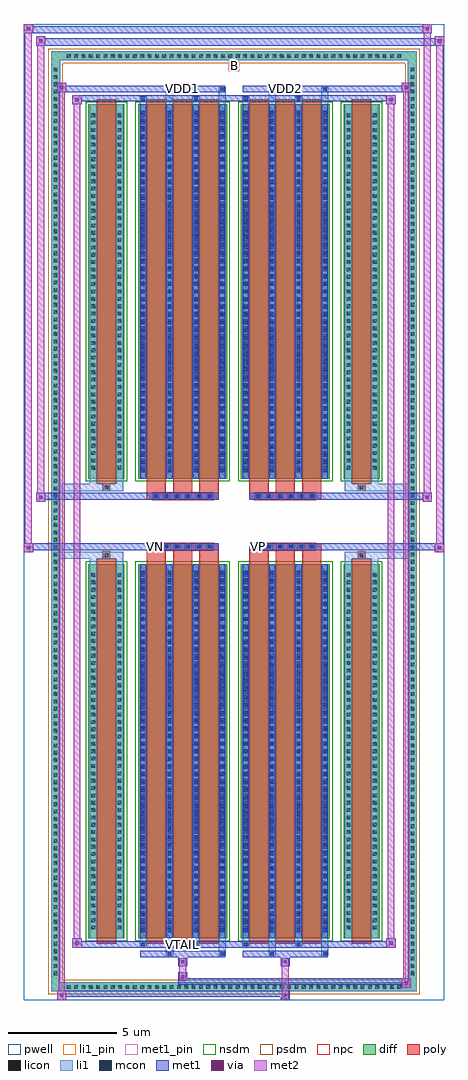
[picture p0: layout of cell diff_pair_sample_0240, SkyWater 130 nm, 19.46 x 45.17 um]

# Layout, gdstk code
import gdstk
lib = gdstk.Library(unit=1e-6, precision=5e-09)
def R(c, l, rs):  # rectangles x0, y0, x1, y1
    for r in rs: c.add(gdstk.rectangle(r[:2], r[2:], *l))
def A(c, l, x, y, w, h, nx, ny, dx, dy):  # array of equal rectangles
    R(c, l, [(x+i*dx, y+j*dy, x+i*dx+w, y+j*dy+h) for i in range(nx) for j in range(ny)])
def P(c, l, *ps):  # polygons
    for p in ps: c.add(gdstk.Polygon(p, *l))
pwell = (64, 44)
diff = (65, 20)
poly = (66, 20)
licon = (66, 44)
li1_pin = (67, 16)
li1 = (67, 20)
mcon = (67, 44)
met1_pin = (68, 16)
met1 = (68, 20)
via = (68, 44)
met2 = (69, 20)
nsdm = (93, 44)
psdm = (94, 20)
npc = (95, 20)

diff_pair_sample_0240 = lib.new_cell('diff_pair_sample_0240')
R(diff_pair_sample_0240, pwell, [(-9.73,-22.15,9.73,23.02), (-7.05,-20.34,-0.01,-0.8), (0.01,-20.34,7.05,-0.8), (-7.05,0.8,-0.01,20.34), (0.01,0.8,7.05,20.34)])
A(diff_pair_sample_0240, diff, -7.855, -21.75, 0.41, 0.41, 46, 2, 0.34, 43.09)
A(diff_pair_sample_0240, diff, -8.46, -21.115, 0.41, 0.41, 1, 124, 0, 0.34)
A(diff_pair_sample_0240, diff, 8.05, -21.115, 0.41, 0.41, 1, 124, 0, 0.34)
R(diff_pair_sample_0240, diff, [(-7.855,-21.75,7.855,-21.34), (-8.46,-21.115,-8.05,21.115), (8.05,-21.115,8.46,21.115), (-6.74,-19.295,-5.07,-1.985), (-4.43,-19.295,-0.32,-1.985), (0.32,-19.295,4.43,-1.985), (5.07,-19.295,6.74,-1.985), (-6.74,1.985,-5.07,19.295), (-4.43,1.985,-0.32,19.295), (0.32,1.985,4.43,19.295), (5.07,1.985,6.74,19.295), (-7.855,21.34,7.855,21.75)])
P(diff_pair_sample_0240, diff, [(8.46,21.75),(-8.46,21.75),(-8.46,-21.34),(-8.05,-21.34),(-8.05,21.34),(8.05,21.34),(8.05,-21.34),(-8.05,-21.34),(-8.46,-21.34),(-8.46,-21.75),(8.46,-21.75)])
A(diff_pair_sample_0240, poly, -4.04, -19.545, 0.89, 17.81, 3, 2, 1.22, 21.28)
A(diff_pair_sample_0240, poly, 0.71, -19.545, 0.89, 17.81, 3, 2, 1.22, 21.28)
A(diff_pair_sample_0240, poly, -4.04, -1.735, 0.89, 0.405, 3, 2, 1.22, 3.065)
A(diff_pair_sample_0240, poly, 0.71, -1.735, 0.89, 0.405, 3, 2, 1.22, 3.065)
A(diff_pair_sample_0240, poly, -3.79, -1.33, 0.33, 0.33, 6, 2, 0.5, 2.33)
A(diff_pair_sample_0240, poly, 0.96, -1.33, 0.33, 0.33, 6, 2, 0.5, 2.33)
R(diff_pair_sample_0240, poly, [(-6.35,-19.545,-5.46,-1.735), (5.46,-19.545,6.35,-1.735), (-6.07,-1.735,-5.74,-1.405), (-6.07,-1.735,-5.74,-1.405), (5.74,-1.735,6.07,-1.405), (5.74,-1.735,6.07,-1.405), (-4.04,-1.33,-0.71,-1), (0.71,-1.33,4.04,-1), (-4.04,1,-0.71,1.33), (0.71,1,4.04,1.33), (-6.07,1.405,-5.74,1.735), (-6.07,1.405,-5.74,1.735), (5.74,1.405,6.07,1.735), (5.74,1.405,6.07,1.735), (-6.35,1.735,-5.46,19.545), (5.46,1.735,6.35,19.545)])
A(diff_pair_sample_0240, licon, -7.735, -21.63, 0.17, 0.17, 46, 2, 0.34, 43.09)
A(diff_pair_sample_0240, licon, -8.34, -20.995, 0.17, 0.17, 1, 124, 0, 0.34)
A(diff_pair_sample_0240, licon, 8.17, -20.995, 0.17, 0.17, 1, 124, 0, 0.34)
A(diff_pair_sample_0240, licon, -6.6, -18.885, 0.17, 0.17, 1, 49, 0, 0.34)
A(diff_pair_sample_0240, licon, -5.38, -18.885, 0.17, 0.17, 1, 49, 0, 0.34)
A(diff_pair_sample_0240, licon, -4.29, -18.885, 0.17, 0.17, 4, 49, 1.22, 0.34)
A(diff_pair_sample_0240, licon, 0.46, -18.885, 0.17, 0.17, 4, 49, 1.22, 0.34)
A(diff_pair_sample_0240, licon, 5.21, -18.885, 0.17, 0.17, 1, 49, 0, 0.34)
A(diff_pair_sample_0240, licon, 6.43, -18.885, 0.17, 0.17, 1, 49, 0, 0.34)
A(diff_pair_sample_0240, licon, -3.71, -1.25, 0.17, 0.17, 6, 2, 0.5, 2.33)
A(diff_pair_sample_0240, licon, 1.04, -1.25, 0.17, 0.17, 6, 2, 0.5, 2.33)
A(diff_pair_sample_0240, licon, -6.6, 2.395, 0.17, 0.17, 1, 49, 0, 0.34)
A(diff_pair_sample_0240, licon, -5.38, 2.395, 0.17, 0.17, 1, 49, 0, 0.34)
A(diff_pair_sample_0240, licon, -4.29, 2.395, 0.17, 0.17, 4, 49, 1.22, 0.34)
A(diff_pair_sample_0240, licon, 0.46, 2.395, 0.17, 0.17, 4, 49, 1.22, 0.34)
A(diff_pair_sample_0240, licon, 5.21, 2.395, 0.17, 0.17, 1, 49, 0, 0.34)
A(diff_pair_sample_0240, licon, 6.43, 2.395, 0.17, 0.17, 1, 49, 0, 0.34)
R(diff_pair_sample_0240, licon, [(-5.99,-1.655,-5.82,-1.485), (5.82,-1.655,5.99,-1.485), (-5.99,1.485,-5.82,1.655), (5.82,1.485,5.99,1.655)])
R(diff_pair_sample_0240, li1_pin, [(-0.25,20.84,0.25,21.34)])
A(diff_pair_sample_0240, li1, -7.815, -21.71, 0.33, 0.33, 46, 2, 0.34, 43.09)
A(diff_pair_sample_0240, li1, -8.42, -21.075, 0.33, 0.33, 1, 124, 0, 0.34)
A(diff_pair_sample_0240, li1, 8.09, -21.075, 0.33, 0.33, 1, 124, 0, 0.34)
A(diff_pair_sample_0240, li1, -4.37, -19.295, 0.33, 17.31, 4, 2, 1.22, 21.28)
A(diff_pair_sample_0240, li1, 0.38, -19.295, 0.33, 17.31, 4, 2, 1.22, 21.28)
A(diff_pair_sample_0240, li1, -4.29, -19.005, 0.17, 0.17, 4, 47, 1.22, 0.36)
A(diff_pair_sample_0240, li1, -4.29, -19.005, 0.17, 16.73, 4, 2, 1.22, 21.28)
A(diff_pair_sample_0240, li1, 0.46, -19.005, 0.17, 0.17, 4, 47, 1.22, 0.36)
A(diff_pair_sample_0240, li1, 0.46, -19.005, 0.17, 16.73, 4, 2, 1.22, 21.28)
A(diff_pair_sample_0240, li1, -6.68, -18.965, 0.33, 0.33, 1, 49, 0, 0.34)
A(diff_pair_sample_0240, li1, -5.46, -18.965, 0.33, 0.33, 1, 49, 0, 0.34)
A(diff_pair_sample_0240, li1, -4.37, -18.965, 0.33, 0.33, 4, 49, 1.22, 0.34)
A(diff_pair_sample_0240, li1, 0.38, -18.965, 0.33, 0.33, 4, 49, 1.22, 0.34)
A(diff_pair_sample_0240, li1, 5.13, -18.965, 0.33, 0.33, 1, 49, 0, 0.34)
A(diff_pair_sample_0240, li1, 6.35, -18.965, 0.33, 0.33, 1, 49, 0, 0.34)
A(diff_pair_sample_0240, li1, -3.79, -1.33, 0.33, 0.33, 6, 2, 0.5, 2.33)
A(diff_pair_sample_0240, li1, 0.96, -1.33, 0.33, 0.33, 6, 2, 0.5, 2.33)
A(diff_pair_sample_0240, li1, -4.29, 2.275, 0.17, 0.17, 4, 47, 1.22, 0.36)
A(diff_pair_sample_0240, li1, 0.46, 2.275, 0.17, 0.17, 4, 47, 1.22, 0.36)
A(diff_pair_sample_0240, li1, -6.68, 2.315, 0.33, 0.33, 1, 49, 0, 0.34)
A(diff_pair_sample_0240, li1, -5.46, 2.315, 0.33, 0.33, 1, 49, 0, 0.34)
A(diff_pair_sample_0240, li1, -4.37, 2.315, 0.33, 0.33, 4, 49, 1.22, 0.34)
A(diff_pair_sample_0240, li1, 0.38, 2.315, 0.33, 0.33, 4, 49, 1.22, 0.34)
A(diff_pair_sample_0240, li1, 5.13, 2.315, 0.33, 0.33, 1, 49, 0, 0.34)
A(diff_pair_sample_0240, li1, 6.35, 2.315, 0.33, 0.33, 1, 49, 0, 0.34)
R(diff_pair_sample_0240, li1, [(-8.46,-21.75,-8.05,-21.34), (-8.46,-21.75,-8.05,-21.34), (-8.05,-21.75,8.05,-21.34), (8.05,-21.75,8.46,-21.34), (8.05,-21.75,8.46,-21.34), (-8.46,-21.34,-8.05,21.34), (8.05,-21.34,8.46,21.34), (-3.15,-20.1,-2.82,-19.295), (-3.07,-20.1,-2.9,-19.93), (-0.71,-20.1,-0.38,-19.295), (-0.63,-20.1,-0.46,-19.93), (1.6,-20.1,1.93,-19.295), (1.68,-20.1,1.85,-19.93), (4.04,-20.1,4.37,-19.295), (4.12,-20.1,4.29,-19.93), (-4.37,-19.67,-4.04,-19.295), (-4.29,-19.67,-4.12,-19.5), (-1.93,-19.67,-1.6,-19.295), (-1.85,-19.67,-1.68,-19.5), (0.38,-19.67,0.71,-19.295), (0.46,-19.67,0.63,-19.5), (2.82,-19.67,3.15,-19.295), (2.9,-19.67,3.07,-19.5), (-6.68,-19.295,-6.35,-1.985), (-5.46,-19.295,-5.13,-1.985), (5.13,-19.295,5.46,-1.985), (6.35,-19.295,6.68,-1.985), (-6.68,-1.985,-6.35,-1.405), (-5.46,-1.985,-5.13,-1.405), (5.13,-1.985,5.46,-1.405), (6.35,-1.985,6.68,-1.405), (-8.46,-1.735,-6.07,-1.405), (-6.68,-1.735,-6.07,-1.405), (-6.07,-1.735,-5.74,-1.405), (-5.74,-1.735,-5.13,-1.405), (5.13,-1.735,5.74,-1.405), (5.74,-1.735,6.07,-1.405), (5.74,-1.735,8.46,-1.405), (6.07,-1.735,6.68,-1.405), (-8.46,1.405,-6.07,1.735), (-6.68,1.405,-6.07,1.735), (-6.68,1.405,-6.35,1.985), (-6.07,1.405,-5.74,1.735), (-5.74,1.405,-5.13,1.735), (-5.46,1.405,-5.13,1.985), (5.13,1.405,5.74,1.735), (5.13,1.405,5.46,1.985), (5.74,1.405,6.07,1.735), (5.74,1.405,8.46,1.735), (6.07,1.405,6.68,1.735), (6.35,1.405,6.68,1.985), (-6.68,1.985,-6.35,19.295), (-5.46,1.985,-5.13,19.295), (5.13,1.985,5.46,19.295), (6.35,1.985,6.68,19.295), (-4.37,19.295,-4.04,19.67), (-3.15,19.295,-2.82,20.1), (-1.93,19.295,-1.6,19.67), (-0.71,19.295,-0.38,20.1), (0.38,19.295,0.71,19.67), (1.6,19.295,1.93,20.1), (2.82,19.295,3.15,19.67), (4.04,19.295,4.37,20.1), (-4.29,19.5,-4.12,19.67), (-1.85,19.5,-1.68,19.67), (0.46,19.5,0.63,19.67), (2.9,19.5,3.07,19.67), (-3.07,19.93,-2.9,20.1), (-0.63,19.93,-0.46,20.1), (1.68,19.93,1.85,20.1), (4.12,19.93,4.29,20.1), (-8.46,21.34,-8.05,21.75), (-8.46,21.34,-8.05,21.75), (-8.05,21.34,8.05,21.75), (8.05,21.34,8.46,21.75), (8.05,21.34,8.46,21.75)])
A(diff_pair_sample_0240, mcon, -4.29, -19.005, 0.17, 0.17, 4, 47, 1.22, 0.36)
A(diff_pair_sample_0240, mcon, 0.46, -19.005, 0.17, 0.17, 4, 47, 1.22, 0.36)
A(diff_pair_sample_0240, mcon, -3.71, -1.25, 0.17, 0.17, 6, 2, 0.5, 2.33)
A(diff_pair_sample_0240, mcon, 1.04, -1.25, 0.17, 0.17, 6, 2, 0.5, 2.33)
A(diff_pair_sample_0240, mcon, -4.29, 2.275, 0.17, 0.17, 4, 47, 1.22, 0.36)
A(diff_pair_sample_0240, mcon, 0.46, 2.275, 0.17, 0.17, 4, 47, 1.22, 0.36)
R(diff_pair_sample_0240, mcon, [(-3.07,-20.1,-2.9,-19.93), (-0.63,-20.1,-0.46,-19.93), (1.68,-20.1,1.85,-19.93), (4.12,-20.1,4.29,-19.93), (-4.29,-19.67,-4.12,-19.5), (-1.85,-19.67,-1.68,-19.5), (0.46,-19.67,0.63,-19.5), (2.9,-19.67,3.07,-19.5), (-4.29,19.5,-4.12,19.67), (-1.85,19.5,-1.68,19.67), (0.46,19.5,0.63,19.67), (2.9,19.5,3.07,19.67), (-3.07,19.93,-2.9,20.1), (-0.63,19.93,-0.46,20.1), (1.68,19.93,1.85,20.1), (4.12,19.93,4.29,20.1)])
R(diff_pair_sample_0240, met1_pin, [(-2.51,-19.71,-2.24,-19.44), (-3.76,-1.29,-3.49,-1.02), (0.99,-1.29,1.26,-1.02), (-2.51,19.89,-2.24,20.16), (2.24,19.89,2.51,20.16)])
A(diff_pair_sample_0240, met1, -4.35, -19.295, 0.29, 17.31, 4, 2, 1.22, 21.28)
A(diff_pair_sample_0240, met1, 0.4, -19.295, 0.29, 17.31, 4, 2, 1.22, 21.28)
A(diff_pair_sample_0240, met1, -4.35, -19.065, 0.29, 0.29, 4, 47, 1.22, 0.36)
A(diff_pair_sample_0240, met1, 0.4, -19.065, 0.29, 0.29, 4, 47, 1.22, 0.36)
A(diff_pair_sample_0240, met1, -3.77, -1.31, 0.29, 0.29, 6, 2, 0.5, 2.33)
A(diff_pair_sample_0240, met1, 0.98, -1.31, 0.29, 0.29, 6, 2, 0.5, 2.33)
A(diff_pair_sample_0240, met1, -4.35, 2.215, 0.29, 0.29, 4, 47, 1.22, 0.36)
A(diff_pair_sample_0240, met1, 0.4, 2.215, 0.29, 0.29, 4, 47, 1.22, 0.36)
R(diff_pair_sample_0240, met1, [(-8.19,-22.15,-7.76,-21.72), (2.16,-22.15,2.59,-21.72), (-8.19,-22.01,2.59,-21.72), (7.76,-21.58,8.19,-21.15), (-2.59,-21.44,8.19,-21.15), (-2.59,-21.3,-2.16,-20.87), (-2.59,-20.59,-2.16,-20.16), (2.16,-20.59,2.59,-20.16), (-4.35,-20.16,-0.4,-19.87), (-3.13,-20.16,-2.84,-19.87), (-0.69,-20.16,-0.4,-19.87), (0.4,-20.16,4.35,-19.87), (1.62,-20.16,1.91,-19.87), (4.06,-20.16,4.35,-19.87), (-7.48,-19.73,-7.05,-19.3), (-7.48,-19.73,-4.35,-19.44), (-4.35,-19.73,-4.06,-19.44), (-4.35,-19.73,-0.4,-19.44), (-1.91,-19.73,-1.62,-19.44), (-0.4,-19.73,0.4,-19.44), (0.4,-19.73,0.69,-19.44), (0.4,-19.73,4.35,-19.44), (2.84,-19.73,3.13,-19.44), (4.35,-19.73,7.48,-19.44), (7.05,-19.73,7.48,-19.3), (-9.73,-1.43,-9.3,-1), (9.3,-1.43,9.73,-1), (-9.73,-1.33,-0.71,-1), (-4.04,-1.33,-0.71,-1), (0.71,-1.33,4.04,-1), (0.71,-1.33,9.73,-1), (-9.16,0.9,-8.73,1.33), (8.73,0.9,9.16,1.33), (-9.16,1,-4.04,1.33), (-4.04,1,-0.71,1.33), (0.71,1,4.04,1.33), (4.04,1,9.16,1.33), (-7.48,19.3,-7.05,19.73), (7.05,19.3,7.48,19.73), (-7.48,19.44,-4.35,19.73), (-4.35,19.44,-4.06,19.73), (-4.35,19.44,-0.4,19.73), (-1.91,19.44,-1.62,19.73), (-0.4,19.44,0.4,19.73), (0.4,19.44,0.69,19.73), (0.4,19.44,4.35,19.73), (2.84,19.44,3.13,19.73), (4.35,19.44,7.48,19.73), (-8.19,19.87,-7.76,20.3), (-8.19,19.87,-4.35,20.16), (-4.35,19.87,-0.4,20.16), (-3.13,19.87,-2.84,20.16), (-0.69,19.87,-0.4,20.16), (0.4,19.87,4.35,20.16), (1.62,19.87,1.91,20.16), (4.06,19.87,4.35,20.16), (4.35,19.87,8.19,20.16), (7.76,19.87,8.19,20.3), (-9.16,22.02,-8.73,22.45), (-9.16,22.02,-7.05,22.35), (-7.05,22.02,7.05,22.35), (7.05,22.02,9.73,22.35), (9.3,22.02,9.73,22.45), (-9.73,22.59,-9.3,23.02), (-9.73,22.59,-7.05,22.92), (-7.05,22.59,7.05,22.92), (7.05,22.59,9.16,22.92), (8.73,22.59,9.16,23.02)])
R(diff_pair_sample_0240, via, [(-8.05,-22.01,-7.9,-21.86), (2.3,-22.01,2.45,-21.86), (7.9,-21.44,8.05,-21.29), (-2.45,-21.16,-2.3,-21.01), (-2.45,-20.45,-2.3,-20.3), (2.3,-20.45,2.45,-20.3), (-7.34,-19.59,-7.19,-19.44), (7.19,-19.59,7.34,-19.44), (-9.59,-1.29,-9.44,-1.14), (9.44,-1.29,9.59,-1.14), (-9.02,1.04,-8.87,1.19), (8.87,1.04,9.02,1.19), (-7.34,19.44,-7.19,19.59), (7.19,19.44,7.34,19.59), (-8.05,20.01,-7.9,20.16), (7.9,20.01,8.05,20.16), (-9.02,22.16,-8.87,22.31), (9.44,22.16,9.59,22.31), (-9.59,22.73,-9.44,22.88), (8.87,22.73,9.02,22.88)])
R(diff_pair_sample_0240, met2, [(-8.19,-22.15,-7.76,-21.72), (-8.12,-22.15,-7.83,20.3), (-7.83,-22.15,-7.76,-21.72), (-8.14,-22.1,-7.81,-21.77), (2.21,-22.1,2.54,-21.77), (2.21,-21.77,2.54,-20.54), (7.76,-21.58,8.19,-21.15), (7.83,-21.58,8.12,20.3), (8.12,-21.58,8.19,-21.15), (7.81,-21.53,8.14,-21.2), (-2.54,-21.25,-2.21,-20.92), (-2.54,-20.92,-2.21,-20.54), (-2.54,-20.54,-2.21,-20.21), (2.21,-20.54,2.54,-20.21), (-7.48,-19.73,-7.05,-19.3), (-7.41,-19.73,-7.12,19.73), (-7.12,-19.73,-7.05,-19.3), (7.05,-19.73,7.48,-19.3), (7.12,-19.73,7.41,19.73), (7.41,-19.73,7.48,-19.3), (-7.43,-19.68,-7.1,-19.35), (7.1,-19.68,7.43,-19.35), (-9.73,-1.43,-9.3,-1), (-9.68,-1.43,-9.35,23.02), (-9.35,-1.43,-9.3,-1), (9.3,-1.43,9.73,-1), (9.35,-1.43,9.68,22.45), (9.68,-1.43,9.73,-1), (-9.68,-1.38,-9.35,-1.05), (9.35,-1.38,9.68,-1.05), (-9.16,0.9,-8.73,1.33), (-9.11,0.9,-8.78,22.45), (-8.78,0.9,-8.73,1.33), (8.73,0.9,9.16,1.33), (8.78,0.9,9.11,23.02), (9.11,0.9,9.16,1.33), (-9.11,0.95,-8.78,1.28), (8.78,0.95,9.11,1.28), (-7.48,19.3,-7.05,19.73), (-7.12,19.3,-7.05,19.73), (7.05,19.3,7.48,19.73), (7.41,19.3,7.48,19.73), (-7.43,19.35,-7.1,19.68), (7.1,19.35,7.43,19.68), (-8.19,19.87,-7.76,20.3), (-7.83,19.87,-7.76,20.3), (7.76,19.87,8.19,20.3), (8.12,19.87,8.19,20.3), (-8.14,19.92,-7.81,20.25), (7.81,19.92,8.14,20.25), (-9.16,22.02,-8.73,22.45), (-8.78,22.02,-8.73,22.45), (9.3,22.02,9.73,22.45), (9.68,22.02,9.73,22.45), (-9.11,22.07,-8.78,22.4), (9.35,22.07,9.68,22.4), (-9.73,22.59,-9.3,23.02), (-9.35,22.59,-9.3,23.02), (8.73,22.59,9.16,23.02), (9.11,22.59,9.16,23.02), (-9.68,22.64,-9.35,22.97), (8.78,22.64,9.11,22.97)])
R(diff_pair_sample_0240, nsdm, [(-6.87,-19.425,-4.94,-1.855), (-4.56,-19.425,-0.19,-1.855), (0.19,-19.425,4.56,-1.855), (4.94,-19.425,6.87,-1.855), (-6.87,1.855,-4.94,19.425), (-4.56,1.855,-0.19,19.425), (0.19,1.855,4.56,19.425), (4.94,1.855,6.87,19.425)])
P(diff_pair_sample_0240, psdm, [(8.59,21.88),(-8.59,21.88),(-8.59,-21.21),(-7.92,-21.21),(-7.92,21.21),(7.92,21.21),(7.92,-21.21),(-7.92,-21.21),(-8.59,-21.21),(-8.59,-21.88),(8.59,-21.88)])
A(diff_pair_sample_0240, npc, -3.81, -1.35, 0.37, 0.37, 6, 2, 0.5, 2.33)
A(diff_pair_sample_0240, npc, 0.94, -1.35, 0.37, 0.37, 6, 2, 0.5, 2.33)
R(diff_pair_sample_0240, npc, [(-6.09,-1.755,-5.72,-1.385), (5.72,-1.755,6.09,-1.385), (-3.81,-1.35,-2.94,-0.98), (-3.81,-1.35,-2.94,-0.98), (-3.31,-1.35,-2.44,-0.98), (-3.31,-1.35,-2.44,-0.98), (-2.81,-1.35,-1.94,-0.98), (-2.81,-1.35,-1.94,-0.98), (-2.31,-1.35,-1.44,-0.98), (-2.31,-1.35,-1.44,-0.98), (-1.81,-1.35,-0.94,-0.98), (-1.81,-1.35,-0.94,-0.98), (0.94,-1.35,1.81,-0.98), (0.94,-1.35,1.81,-0.98), (1.44,-1.35,2.31,-0.98), (1.44,-1.35,2.31,-0.98), (1.94,-1.35,2.81,-0.98), (1.94,-1.35,2.81,-0.98), (2.44,-1.35,3.31,-0.98), (2.44,-1.35,3.31,-0.98), (2.94,-1.35,3.81,-0.98), (2.94,-1.35,3.81,-0.98), (-3.81,0.98,-2.94,1.35), (-3.81,0.98,-2.94,1.35), (-3.31,0.98,-2.44,1.35), (-3.31,0.98,-2.44,1.35), (-2.81,0.98,-1.94,1.35), (-2.81,0.98,-1.94,1.35), (-2.31,0.98,-1.44,1.35), (-2.31,0.98,-1.44,1.35), (-1.81,0.98,-0.94,1.35), (-1.81,0.98,-0.94,1.35), (0.94,0.98,1.81,1.35), (0.94,0.98,1.81,1.35), (1.44,0.98,2.31,1.35), (1.44,0.98,2.31,1.35), (1.94,0.98,2.81,1.35), (1.94,0.98,2.81,1.35), (2.44,0.98,3.31,1.35), (2.44,0.98,3.31,1.35), (2.94,0.98,3.81,1.35), (2.94,0.98,3.81,1.35), (-6.09,1.385,-5.72,1.755), (5.72,1.385,6.09,1.755)])
diff_pair_sample_0240.add(gdstk.Label('VTAIL', (-2.375,-19.575), layer=68, texttype=5))
diff_pair_sample_0240.add(gdstk.Label('VN', (-3.625,-1.155), layer=68, texttype=5))
diff_pair_sample_0240.add(gdstk.Label('VP', (1.125,-1.155), layer=68, texttype=5))
diff_pair_sample_0240.add(gdstk.Label('B', (0,21.09), layer=67, texttype=5))
diff_pair_sample_0240.add(gdstk.Label('VDD2', (2.375,20.025), layer=68, texttype=5))
diff_pair_sample_0240.add(gdstk.Label('VDD1', (-2.375,20.025), layer=68, texttype=5))

lib.write_gds('diff_pair_sample_0240.gds')
